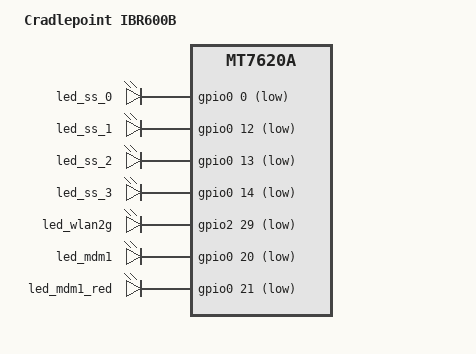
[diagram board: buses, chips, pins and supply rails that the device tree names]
#include "mt7620a_cradlepoint_ibr-b.dtsi"

#include <dt-bindings/gpio/gpio.h>
#include <dt-bindings/input/input.h>
#include <dt-bindings/leds/common.h>

/ {
	compatible = "cradlepoint,ibr600b";
	model = "Cradlepoint IBR600B";

	chosen {
		bootargs-append = " ubi.mtd=Filesystem";
	};
};


&ethernet {
	nvmem-cells = <&macaddr_factory_28>;
	nvmem-cell-names = "mac-address";
	mediatek,portmap = "lwlll";
};

&led_ss_0 {
	gpios = <&gpio0 0 GPIO_ACTIVE_LOW>;
};

&led_ss_1 {
	gpios = <&gpio0 12 GPIO_ACTIVE_LOW>;
};

&led_ss_2 {
	gpios = <&gpio0 13 GPIO_ACTIVE_LOW>;
};

&led_ss_3 {
	gpios = <&gpio0 14 GPIO_ACTIVE_LOW>;
};

&led_wlan2g {
	gpios = <&gpio2 29 GPIO_ACTIVE_LOW>;
};

&led_mdm1 {
	gpios = <&gpio0 20 GPIO_ACTIVE_LOW>;
};

&led_mdm1_red {
	gpios = <&gpio0 21 GPIO_ACTIVE_LOW>;
};
